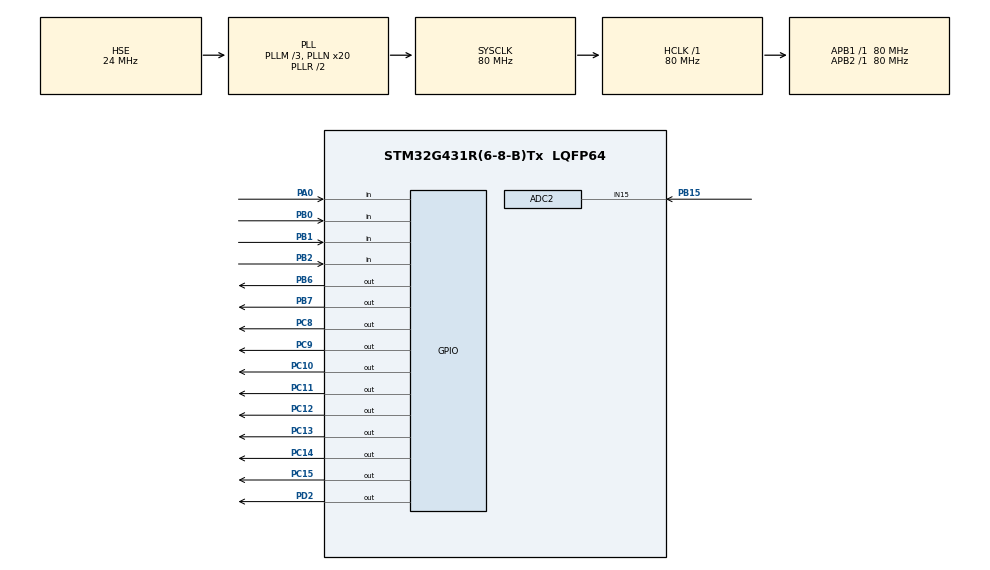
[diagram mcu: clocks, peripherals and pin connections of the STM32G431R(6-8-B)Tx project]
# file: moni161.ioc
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ADC2.Channel-1\#ChannelRegularConversion=ADC_CHANNEL_15
ADC2.NbrOfConversionFlag=1
ADC2.OffsetNumber-1\#ChannelRegularConversion=ADC_OFFSET_NONE
ADC2.Rank-1\#ChannelRegularConversion=1
ADC2.SamplingTime-1\#ChannelRegularConversion=ADC_SAMPLETIME_2CYCLES_5
Mcu.Family=STM32G4
Mcu.Name=STM32G431R(6-8-B)Tx
Mcu.Package=LQFP64
NVIC.PriorityGroup=NVIC_PRIORITYGROUP_4
NVIC.TIM2_IRQn=true\:0\:0\:false\:false\:true\:true\:true\:true
PA0.GPIO_PuPd=GPIO_PULLUP
PA0.Signal=GPIO_Input
PA13.Mode=Serial_Wire
PA13.Signal=SYS_JTMS-SWDIO
PA14.Mode=Serial_Wire
PA14.Signal=SYS_JTCK-SWCLK
PB0.GPIO_PuPd=GPIO_PULLUP
PB0.Signal=GPIO_Input
PB1.GPIO_PuPd=GPIO_PULLUP
PB1.Signal=GPIO_Input
PB15.Mode=IN15-Single-Ended
PB15.Signal=ADC2_IN15
PB2.GPIO_PuPd=GPIO_PULLUP
PB2.Signal=GPIO_Input
PB6.Signal=GPIO_Output
PB7.Signal=GPIO_Output
PC10.PinState=GPIO_PIN_SET
PC10.Signal=GPIO_Output
PC11.PinState=GPIO_PIN_SET
PC11.Signal=GPIO_Output
PC12.PinState=GPIO_PIN_SET
PC12.Signal=GPIO_Output
PC13.PinState=GPIO_PIN_SET
PC13.Signal=GPIO_Output
PC14-OSC32_IN.PinState=GPIO_PIN_SET
PC14-OSC32_IN.Signal=GPIO_Output
PC15-OSC32_OUT.PinState=GPIO_PIN_SET
PC15-OSC32_OUT.Signal=GPIO_Output
PC8.PinState=GPIO_PIN_SET
PC8.Signal=GPIO_Output
PC9.PinState=GPIO_PIN_SET
PC9.Signal=GPIO_Output
PD2.PinState=GPIO_PIN_SET
PD2.Signal=GPIO_Output
PF0-OSC_IN.Mode=HSE-External-Oscillator
PF0-OSC_IN.Signal=RCC_OSC_IN
PF1-OSC_OUT.Mode=HSE-External-Oscillator
PF1-OSC_OUT.Signal=RCC_OSC_OUT
ProjectManager.HeapSize=0x200
ProjectManager.StackSize=0x400
ProjectManager.TargetToolchain=MDK-ARM V5.32
RCC.ADC12Freq_Value=80000000
RCC.AHBFreq_Value=80000000
RCC.APB1Freq_Value=80000000
RCC.APB1TimFreq_Value=80000000
RCC.APB2Freq_Value=80000000
RCC.APB2TimFreq_Value=80000000
RCC.CortexFreq_Value=80000000
RCC.EXTERNAL_CLOCK_VALUE=12288000
RCC.HCLKFreq_Value=80000000
RCC.HSE_VALUE=24000000
RCC.HSI48_VALUE=48000000
RCC.HSI_VALUE=16000000
RCC.LSE_VALUE=32768
RCC.PLLM=RCC_PLLM_DIV3
RCC.PLLN=20
RCC.PLLSourceVirtual=RCC_PLLSOURCE_HSE
RCC.SYSCLKFreq_VALUE=80000000
RCC.SYSCLKSource=RCC_SYSCLKSOURCE_PLLCLK
RCC.USBFreq_Value=80000000
RCC.VCOOutputFreq_Value=160000000
TIM2.PeriodNoDither=1000-1
TIM2.Prescaler=8000-1
VP_SYS_VS_DBSignals.Mode=DisableDeadBatterySignals
VP_TIM2_VS_ClockSourceINT.Mode=Internal
board=custom

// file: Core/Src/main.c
/* USER CODE BEGIN Header */
/**
  ******************************************************************************
  * @file           : main.c
  * @brief          : Main program body
  ******************************************************************************
  * @attention
  *
  * Copyright (c) 2025 STMicroelectronics.
  * All rights reserved.
  *
  * This software is licensed under terms that can be found in the LICENSE file
  * in the root directory of this software component.
  * If no LICENSE file comes with this software, it is provided AS-IS.
  *
  ******************************************************************************
  */
/* USER CODE END Header */
#include "main.h"
#include "adc.h"
#include "tim.h"
#include "gpio.h"

/* USER CODE BEGIN Includes */
#include "headfile.h"
/* USER CODE END Includes */

void SystemClock_Config(void);

int main(void)
{

  /* MCU Configuration--------------------------------------------------------*/

  /* Reset of all peripherals, Initializes the Flash interface and the Systick. */
  HAL_Init();

  /* Configure the system clock */
  SystemClock_Config();

  /* Initialize all configured peripherals */
  MX_GPIO_Init();
  MX_ADC2_Init();
  MX_TIM2_Init();
  /* USER CODE BEGIN 2 */
	HAL_GPIO_WritePin(GPIOD, GPIO_PIN_2, GPIO_PIN_RESET);

	LCD_Init();
	LCD_Clear(Black);
	LCD_SetBackColor(Black);
	LCD_SetTextColor(White);

	I2CInit();

	HAL_TIM_Base_Start_IT(&htim2);

	if(eeprom_read(0x03) != 8)
	{
		eeprom_write(0x03,8);  //第一次上电
		pwd_real[0] = 0;
		pwd_real[1] = 1;
		pwd_real[2] = 2;
		eeprom_write(0x00,pwd_real[0]);
		eeprom_write(0x01,pwd_real[1]);
		eeprom_write(0x02,pwd_real[2]);
	}
	else
	{
		pwd_real[0] = eeprom_read(0x00);
		pwd_real[1] = eeprom_read(0x01);
		pwd_real[2] = eeprom_read(0x02);
	}
  /* USER CODE END 2 */

  /* Infinite loop */
  /* USER CODE BEGIN WHILE */
  while (1)
  {
	lcd_show();

	key_scan();

    /* USER CODE END WHILE */

  }
}

void SystemClock_Config(void)
{
  RCC_OscInitTypeDef RCC_OscInitStruct = {0};
  RCC_ClkInitTypeDef RCC_ClkInitStruct = {0};

  /** Configure the main internal regulator output voltage
  */
  HAL_PWREx_ControlVoltageScaling(PWR_REGULATOR_VOLTAGE_SCALE1);

  /** Initializes the RCC Oscillators according to the specified parameters
  * in the RCC_OscInitTypeDef structure.
  */
  RCC_OscInitStruct.OscillatorType = RCC_OSCILLATORTYPE_HSE;
  RCC_OscInitStruct.HSEState = RCC_HSE_ON;
  RCC_OscInitStruct.PLL.PLLState = RCC_PLL_ON;
  RCC_OscInitStruct.PLL.PLLSource = RCC_PLLSOURCE_HSE;
  RCC_OscInitStruct.PLL.PLLM = RCC_PLLM_DIV3;
  RCC_OscInitStruct.PLL.PLLN = 20;
  RCC_OscInitStruct.PLL.PLLP = RCC_PLLP_DIV2;
  RCC_OscInitStruct.PLL.PLLQ = RCC_PLLQ_DIV2;
  RCC_OscInitStruct.PLL.PLLR = RCC_PLLR_DIV2;
  if (HAL_RCC_OscConfig(&RCC_OscInitStruct) != HAL_OK)
  {
    Error_Handler();
  }

  /** Initializes the CPU, AHB and APB buses clocks
  */
  RCC_ClkInitStruct.ClockType = RCC_CLOCKTYPE_HCLK|RCC_CLOCKTYPE_SYSCLK
                              |RCC_CLOCKTYPE_PCLK1|RCC_CLOCKTYPE_PCLK2;
  RCC_ClkInitStruct.SYSCLKSource = RCC_SYSCLKSOURCE_PLLCLK;
  RCC_ClkInitStruct.AHBCLKDivider = RCC_SYSCLK_DIV1;
  RCC_ClkInitStruct.APB1CLKDivider = RCC_HCLK_DIV1;
  RCC_ClkInitStruct.APB2CLKDivider = RCC_HCLK_DIV1;

  if (HAL_RCC_ClockConfig(&RCC_ClkInitStruct, FLASH_LATENCY_2) != HAL_OK)
  {
    Error_Handler();
  }
}

void Error_Handler(void)
{
  __disable_irq();
  while (1)
  {
  }
}
